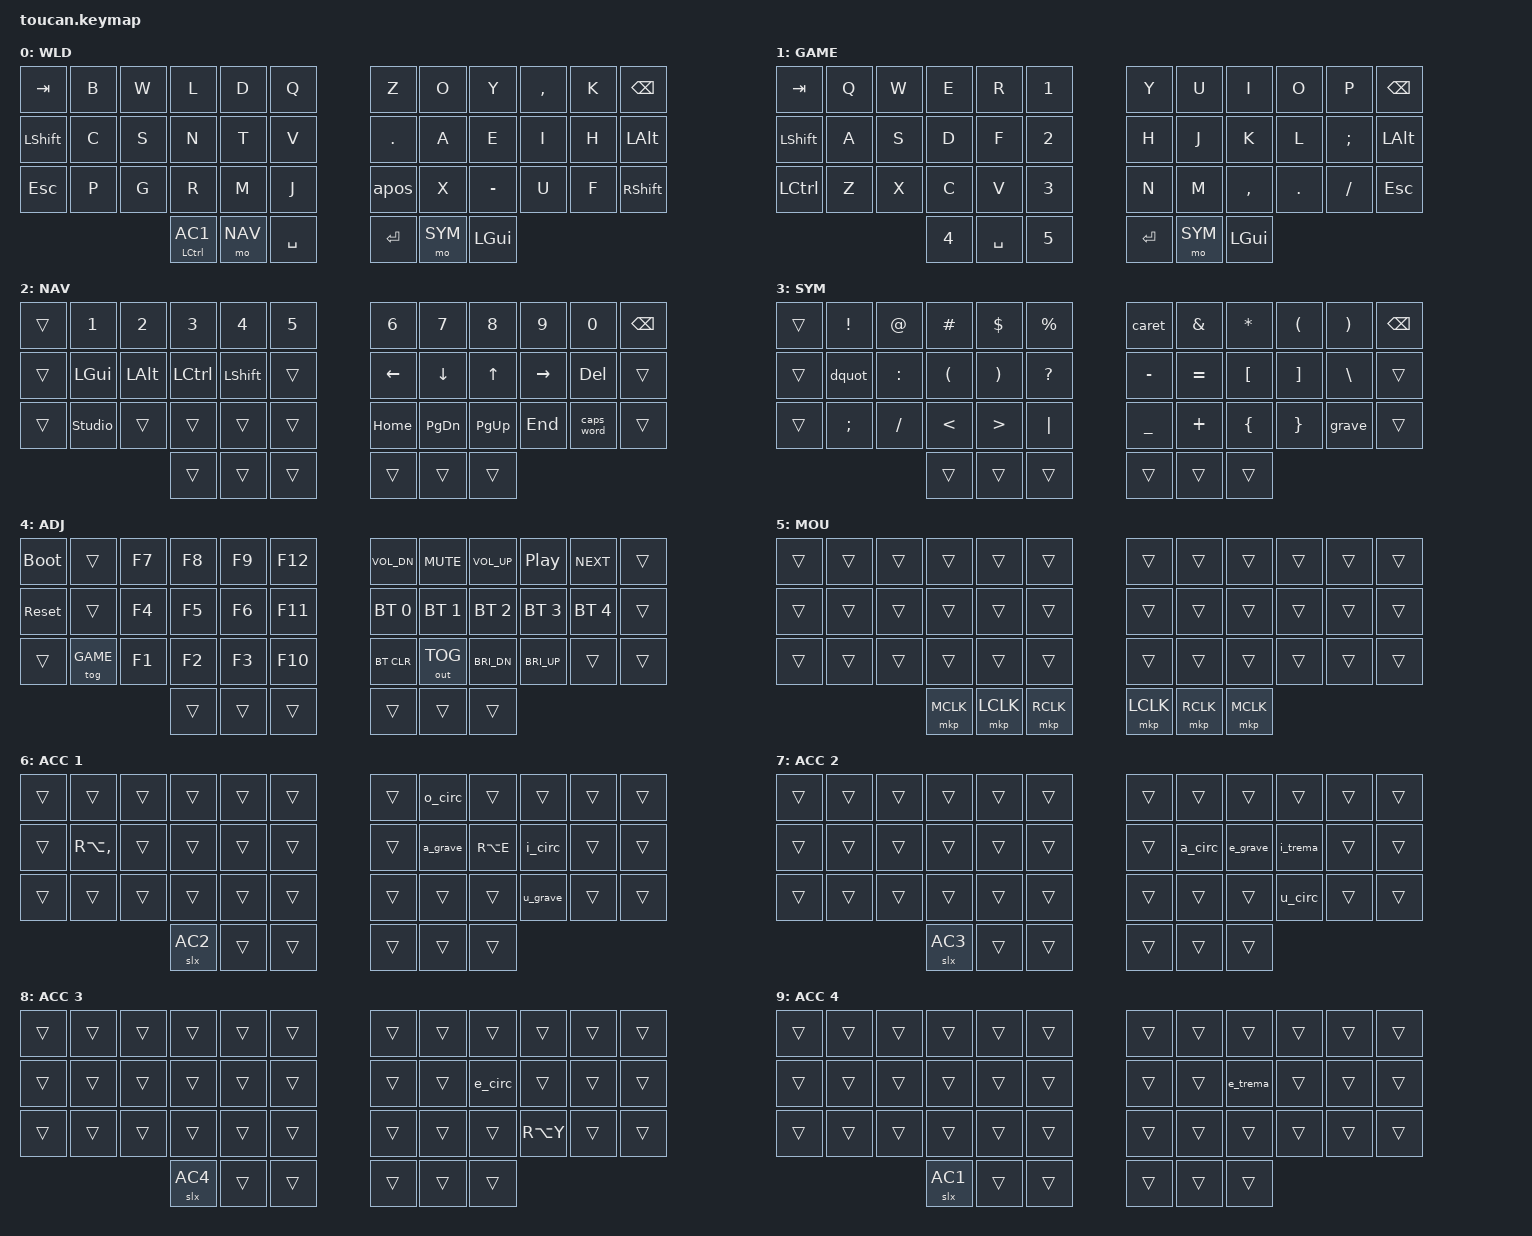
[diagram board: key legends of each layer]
// Toucan2 keymap v2 — the Walid layout + accent prefix. Source of truth for the firmware
// (left half = central), KEYMAP.md and the trainer (trainer/gen.mjs parses this file).
//
// OS layout must be "US International" (dead keys) on every machine:
//   é ç ü  = AltGr + letter          è ê ë à â ù û î ï ô = dead key, then letter
//   ' " ` ^ are sent as "dead key + space" so they stay plain.
//
// Accent prefix = TAP the left Ctrl thumb (holding it is still Ctrl), then the letter:
//   1 tap: e→é a→à u→ù i→î o→ô c→ç      2 taps: e→è a→â u→û i→ï
//   3 taps: e→ê u→ü                      4 taps: e→ë          (Shift held = capital)
//
// Positions: row0 0-11, row1 12-23, row2 24-35, thumbs 36-38 (left) 39-41 (right).

#include <behaviors.dtsi>
#include <dt-bindings/zmk/keys.h>
#include <dt-bindings/zmk/bt.h>
#include <dt-bindings/zmk/outputs.h>
#include <dt-bindings/zmk/pointing.h>

#define BASE 0
#define GAME 1
#define NAV  2
#define SYM  3
#define ADJ  4
#define MOU  5
#define AC1  6
#define AC2  7
#define AC3  8
#define AC4  9

// dead key + letter, with a Shift-aware capital variant (mod-morph masks Shift so the dead key stays plain)
#define DEAD(id, dk, letter, text)                                                          \
    id##_lc: id##_lc { compatible = "zmk,behavior-macro"; #binding-cells = <0>;          \
        bindings = <&kp dk &kp letter>; };                                                    \
    id##_uc: id##_uc { compatible = "zmk,behavior-macro"; #binding-cells = <0>;          \
        bindings = <&kp dk &kp LS(letter)>; };                                                \
    id: id { compatible = "zmk,behavior-mod-morph"; #binding-cells = <0>;                \
        display-name = text; bindings = <&id##_lc>, <&id##_uc>; mods = <(MOD_LSFT|MOD_RSFT)>; };

// dead key + space = the plain character
#define PLAIN(id, dk, text)                                                                 \
    id: id { compatible = "zmk,behavior-macro"; #binding-cells = <0>; display-name = text; \
        bindings = <&kp dk &kp SPACE>; };

/ {
    conditional_layers {
        compatible = "zmk,conditional-layers";
        tri_layer { if-layers = <NAV SYM>; then-layer = <ADJ>; };
        // ADJ is a then-layer, so ZMK turns it off whenever its condition is false: &mo ADJ alone
        // cannot hold it. In GAME the right middle thumb is &mo SYM and this rule opens ADJ from it.
        game_adj { if-layers = <GAME SYM>; then-layer = <ADJ>; };
    };

    behaviors {
        // one-shot accent layer: stays armed until the next key, or 5 s
        slx: sticky_accent_layer {
            compatible = "zmk,behavior-sticky-key";
            #binding-cells = <1>;
            display-name = "Accent prefix";
            bindings = <&mo>;
            release-after-ms = <5000>;
            ignore-modifiers;
        };
        // left Ctrl thumb: hold = Ctrl, tap = accent prefix
        ctl_acc: ctl_acc {
            compatible = "zmk,behavior-hold-tap";
            #binding-cells = <2>;
            display-name = "Ctrl / accent";
            flavor = "hold-preferred";
            tapping-term-ms = <200>;
            bindings = <&kp>, <&slx>;
        };

        PLAIN(apos,  SQT,     "apostrophe")
        PLAIN(dquot, LS(SQT), "dbl quote")
        PLAIN(grave, GRAVE,   "backtick")
        PLAIN(caret, LS(N6),  "caret")

        DEAD(a_grave, GRAVE,   A, "a grave")
        DEAD(a_circ,  LS(N6),  A, "a circ")
        DEAD(e_grave, GRAVE,   E, "e grave")
        DEAD(e_circ,  LS(N6),  E, "e circ")
        DEAD(e_trema, LS(SQT), E, "e trema")
        DEAD(i_circ,  LS(N6),  I, "i circ")
        DEAD(i_trema, LS(SQT), I, "i trema")
        DEAD(o_circ,  LS(N6),  O, "o circ")
        DEAD(u_grave, GRAVE,   U, "u grave")
        DEAD(u_circ,  LS(N6),  U, "u circ")
    };

    keymap {
        compatible = "zmk,keymap";

        base {
            display-name = "WLD";
            bindings = <
&kp TAB   &kp B &kp W &kp L &kp D &kp Q      &kp Z   &kp O &kp Y     &kp COMMA &kp K &kp BSPC
&kp LSHFT &kp C &kp S &kp N &kp T &kp V      &kp DOT &kp A &kp E     &kp I     &kp H &kp LALT
&kp ESC   &kp P &kp G &kp R &kp M &kp J      &apos   &kp X &kp MINUS &kp U     &kp F &kp RSHFT
             &ctl_acc LCTRL AC1 &mo NAV &kp SPACE      &kp RET &mo SYM &kp LGUI
            >;
        };

        // locked QWERTY for games (toggle: ADJ + bottom-left letter key). Plain keys only: no hold-tap,
        // no accent prefix. Left hand = WASD cluster + 1-5 (inner column and outer thumbs); right hand =
        // QWERTY letters for menus/chat, right middle thumb = ADJ via the game_adj rule (F-keys, volume, BT, the way out).
        game {
            display-name = "GAME";
            bindings = <
&kp TAB   &kp Q &kp W &kp E &kp R &kp N1      &kp Y &kp U &kp I     &kp O   &kp P    &kp BSPC
&kp LSHFT &kp A &kp S &kp D &kp F &kp N2      &kp H &kp J &kp K     &kp L   &kp SEMI &kp LALT
&kp LCTRL &kp Z &kp X &kp C &kp V &kp N3      &kp N &kp M &kp COMMA &kp DOT &kp FSLH &kp ESC
                     &kp N4 &kp SPACE &kp N5      &kp RET &mo SYM &kp LGUI
            >;
        };

        nav {
            display-name = "NAV";
            bindings = <
&trans &kp N1         &kp N2   &kp N3    &kp N4    &kp N5      &kp N6   &kp N7    &kp N8   &kp N9    &kp N0     &kp BSPC
&trans &kp LGUI       &kp LALT &kp LCTRL &kp LSHFT &trans      &kp LEFT &kp DOWN  &kp UP   &kp RIGHT &kp DEL    &trans
&trans &studio_unlock &trans   &trans    &trans    &trans      &kp HOME &kp PG_DN &kp PG_UP &kp END  &caps_word &trans
                                &trans &trans &trans      &trans &trans &trans
            >;
        };

        sym {
            display-name = "SYM";
            bindings = <
&trans &kp EXCL &kp AT    &kp HASH &kp DLLR &kp PRCNT      &caret    &kp AMPS  &kp STAR &kp LPAR &kp RPAR &kp BSPC
&trans &dquot   &kp COLON &kp LPAR &kp RPAR &kp QMARK      &kp MINUS &kp EQUAL &kp LBKT &kp RBKT &kp BSLH &trans
&trans &kp SEMI &kp FSLH  &kp LT   &kp GT   &kp PIPE       &kp UNDER &kp PLUS  &kp LBRC &kp RBRC &grave   &trans
                               &trans &trans &trans      &trans &trans &trans
            >;
        };

        adj {
            display-name = "ADJ";
            bindings = <
&bootloader &trans &kp F7 &kp F8 &kp F9 &kp F12      &kp C_VOL_DN &kp C_MUTE   &kp C_VOL_UP &kp C_PP     &kp C_NEXT   &trans
&sys_reset  &trans &kp F4 &kp F5 &kp F6 &kp F11      &bt BT_SEL 0 &bt BT_SEL 1 &bt BT_SEL 2 &bt BT_SEL 3 &bt BT_SEL 4 &trans
&trans      &tog GAME &kp F1 &kp F2 &kp F3 &kp F10      &bt BT_CLR   &out OUT_TOG &kp C_BRI_DN &kp C_BRI_UP &trans       &trans
                                &trans &trans &trans      &trans &trans &trans
            >;
        };

        mou {
            display-name = "MOU";
            bindings = <
&trans &trans &trans &trans &trans &trans      &trans &trans &trans &trans &trans &trans
&trans &trans &trans &trans &trans &trans      &trans &trans &trans &trans &trans &trans
&trans &trans &trans &trans &trans &trans      &trans &trans &trans &trans &trans &trans
                   &mkp MCLK &mkp LCLK &mkp RCLK      &mkp LCLK &mkp RCLK &mkp MCLK
            >;
        };

        ac1 {
            display-name = "ACC 1";
            bindings = <
&trans &trans &trans &trans &trans &trans      &trans &o_circ      &trans &trans  &trans &trans
&trans &kp RA(COMMA) &trans &trans &trans &trans   &trans &a_grave &kp RA(E) &i_circ &trans &trans
&trans &trans &trans &trans &trans &trans      &trans &trans       &trans &u_grave &trans &trans
                            &slx AC2 &trans &trans      &trans &trans &trans
            >;
        };

        ac2 {
            display-name = "ACC 2";
            bindings = <
&trans &trans &trans &trans &trans &trans      &trans &trans  &trans   &trans   &trans &trans
&trans &trans &trans &trans &trans &trans      &trans &a_circ &e_grave &i_trema &trans &trans
&trans &trans &trans &trans &trans &trans      &trans &trans  &trans   &u_circ  &trans &trans
                            &slx AC3 &trans &trans      &trans &trans &trans
            >;
        };

        ac3 {
            display-name = "ACC 3";
            bindings = <
&trans &trans &trans &trans &trans &trans      &trans &trans &trans  &trans    &trans &trans
&trans &trans &trans &trans &trans &trans      &trans &trans &e_circ &trans    &trans &trans
&trans &trans &trans &trans &trans &trans      &trans &trans &trans  &kp RA(Y) &trans &trans
                            &slx AC4 &trans &trans      &trans &trans &trans
            >;
        };

        ac4 {
            display-name = "ACC 4";
            bindings = <
&trans &trans &trans &trans &trans &trans      &trans &trans &trans   &trans &trans &trans
&trans &trans &trans &trans &trans &trans      &trans &trans &e_trema &trans &trans &trans
&trans &trans &trans &trans &trans &trans      &trans &trans &trans   &trans &trans &trans
                            &slx AC1 &trans &trans      &trans &trans &trans
            >;
        };
    };
};
